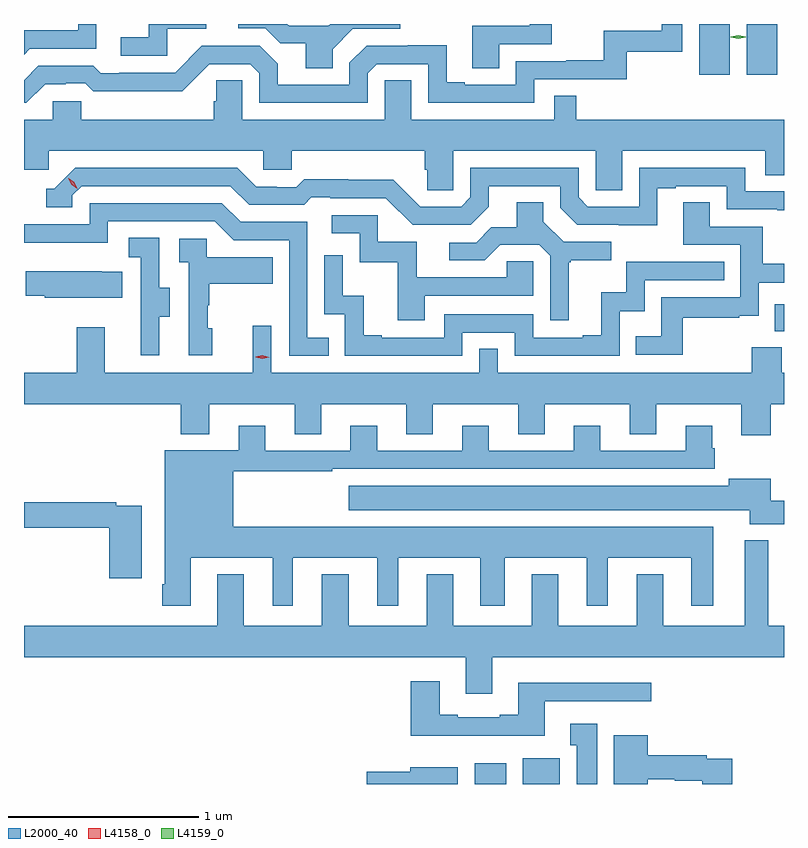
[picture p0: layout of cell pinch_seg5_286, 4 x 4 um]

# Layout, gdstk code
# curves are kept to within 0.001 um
import gdstk
lib = gdstk.Library(unit=1e-6, precision=1e-09)
def R(c, l, rs):  # rectangles x0, y0, x1, y1
    for r in rs: c.add(gdstk.rectangle(r[:2], r[2:], *l))
def P(c, l, *ps):  # polygons
    for p in ps: c.add(gdstk.Polygon(p, *l))
L2000_40 = (2000, 40)
L4158_0 = (4158, 0)
L4159_0 = (4159, 0)

pinch_seg5_286 = lib.new_cell('pinch_seg5_286')
R(pinch_seg5_286, L2000_40, [(924.053,897.384,924.22,897.493), (924.305,897.384,924.502,897.52), (925.633,899.768,925.681,899.908), (925.235,901.116,925.396,901.384), (925.484,901.116,925.645,901.384)])
P(pinch_seg5_286, L2000_40, [(921.793,901.068),(921.9,901.068),(921.9,901.071),(922.003,901.071),(922.045,901.029),(922.278,901.029),(922.278,901.031),(922.514,901.031),(922.656,901.173),(922.872,901.173),(922.92,901.125),(922.92,900.969),(923.49,900.969),(923.49,901.125),(923.538,901.173),(923.808,901.173),(923.808,900.969),(924.366,900.969),(924.366,901.092),(924.853,901.092),(924.853,901.239),(925.146,901.239),(925.146,901.384),(925.037,901.384),(925.037,901.348),(924.732,901.348),(924.732,901.193),(924.535,901.193),(924.535,901.188),(924.27,901.188),(924.27,901.065),(924.001,901.065),(924.001,901.078),(923.905,901.078),(923.905,901.271),(923.7,901.271),(923.7,901.269),(923.484,901.269),(923.394,901.179),(923.394,901.065),(923.017,901.065),(923.017,901.175),(922.923,901.269),(922.617,901.269),(922.476,901.128),(922.183,901.128),(922.183,901.125),(922.084,901.125),(922.045,901.164),(921.756,901.164),(921.681,901.089),(921.681,900.969),(921.694,900.969)],
  [(921.712,901.254),(922.062,901.254),(922.062,901.384),(921.966,901.384),(921.966,901.35),(921.681,901.35),(921.681,901.223)],
  [(924.181,901.278),(924.458,901.278),(924.458,901.384),(924.342,901.384),(924.342,901.374),(924.041,901.374),(924.041,901.15),(924.181,901.15)],
  [(922.434,901.359),(922.639,901.359),(922.639,901.384),(922.338,901.384),(922.338,901.314),(922.191,901.314),(922.191,901.218),(922.434,901.218)],
  [(923.305,901.252),(923.412,901.359),(923.662,901.359),(923.662,901.384),(923.293,901.384),(923.283,901.374),(923.077,901.374),(923.067,901.384),(922.809,901.384),(922.809,901.362),(922.95,901.362),(923.03,901.282),(923.165,901.282),(923.165,901.15),(923.305,901.15)],
  [(923.94,900.716),(924.69,900.716),(924.69,900.508),(924.829,900.508),(924.829,900.716),(925.581,900.716),(925.581,900.589),(925.681,900.589),(925.681,900.88),(924.587,900.88),(924.587,901.007),(924.471,901.007),(924.471,900.88),(923.719,900.88),(923.719,901.088),(923.58,901.088),(923.58,900.88),(922.83,900.88),(922.83,901.088),(922.693,901.088),(922.693,900.978),(922.679,900.978),(922.679,900.88),(921.981,900.88),(921.981,900.978),(921.831,900.978),(921.831,900.88),(921.681,900.88),(921.681,900.618),(921.81,900.618),(921.81,900.716),(922.941,900.716),(922.941,900.618),(923.091,900.618),(923.091,900.716),(923.789,900.716),(923.789,900.618),(923.803,900.618),(923.803,900.508),(923.94,900.508)],
  [(925.015,900.519),(925.111,900.519),(925.111,900.531),(925.38,900.531),(925.38,900.408),(925.645,900.408),(925.645,900.403),(925.681,900.403),(925.681,900.504),(925.476,900.504),(925.476,900.627),(924.918,900.627),(924.918,900.423),(924.648,900.423),(924.6,900.471),(924.6,900.627),(924.03,900.627),(924.03,900.471),(923.982,900.423),(923.766,900.423),(923.624,900.565),(923.388,900.565),(923.388,900.568),(923.155,900.568),(923.113,900.525),(923.01,900.525),(923.01,900.528),(922.903,900.528),(922.804,900.627),(921.951,900.627),(921.84,900.516),(921.797,900.516),(921.797,900.42),(921.936,900.42),(921.936,900.483),(921.984,900.531),(922.767,900.531),(922.866,900.432),(923.155,900.432),(923.194,900.471),(923.293,900.471),(923.293,900.468),(923.586,900.468),(923.727,900.327),(924.033,900.327),(924.127,900.421),(924.127,900.531),(924.504,900.531),(924.504,900.417),(924.594,900.327),(925.015,900.326)],
  [(925.147,899.838),(925.445,899.838),(925.445,899.849),(925.548,899.849),(925.548,900.021),(925.681,900.021),(925.681,900.122),(925.568,900.122),(925.568,900.318),(925.291,900.318),(925.291,900.446),(925.151,900.446),(925.151,900.222),(925.452,900.222),(925.452,899.946),(925.036,899.946),(925.036,899.74),(924.901,899.74),(924.901,899.643),(925.147,899.643)],
  [(924.547,900.129),(924.559,900.129),(924.559,900.14),(924.772,900.14),(924.772,900.237),(924.522,900.237),(924.415,900.344),(924.415,900.446),(924.275,900.446),(924.275,900.314),(924.14,900.314),(924.06,900.234),(923.919,900.234),(923.919,900.141),(924.106,900.141),(924.187,900.222),(924.393,900.222),(924.45,900.165),(924.45,899.826),(924.547,899.826)],
  [(923.285,899.733),(923.172,899.733),(923.172,900.342),(922.822,900.342),(922.723,900.441),(922.026,900.441),(922.026,900.33),(921.681,900.33),(921.681,900.233),(922.122,900.233),(922.122,900.345),(922.686,900.345),(922.785,900.246),(923.076,900.246),(923.076,899.637),(923.285,899.637)],
  [(923.791,899.955),(924.36,899.955),(924.36,900.135),(924.223,900.135),(924.223,900.051),(923.749,900.051),(923.749,900.237),(923.544,900.237),(923.544,900.378),(923.301,900.378),(923.301,900.282),(923.448,900.282),(923.448,900.129),(923.647,900.129),(923.647,899.826),(923.791,899.826)],
  [(922.393,899.842),(922.447,899.842),(922.447,899.997),(922.392,899.997),(922.392,900.26),(922.233,900.26),(922.233,900.157),(922.296,900.157),(922.296,899.853),(922.295,899.853),(922.295,899.64),(922.393,899.64)],
  [(922.672,899.784),(922.647,899.784),(922.647,899.903),(922.657,899.903),(922.657,900.017),(922.991,900.017),(922.991,900.157),(922.644,900.157),(922.644,900.255),(922.497,900.255),(922.497,900.131),(922.548,900.131),(922.548,899.64),(922.672,899.64)],
  [(923.988,899.76),(924.264,899.76),(924.264,899.637),(924.816,899.637),(924.816,899.873),(924.948,899.873),(924.948,900.036),(925.367,900.036),(925.367,900.132),(924.852,900.132),(924.852,899.971),(924.719,899.971),(924.719,899.746),(924.623,899.746),(924.623,899.733),(924.36,899.733),(924.36,899.856),(923.892,899.856),(923.892,899.733),(923.563,899.733),(923.563,899.746),(923.468,899.746),(923.468,899.954),(923.358,899.954),(923.358,900.166),(923.262,900.166),(923.262,899.856),(923.37,899.856),(923.37,899.637),(923.988,899.637)],
  [(922.199,900.079),(922.091,900.079),(922.091,900.082),(921.691,900.082),(921.691,899.953),(921.789,899.953),(921.789,899.942),(922.199,899.942)],
  [(925.61,899.384),(925.681,899.384),(925.681,899.548),(925.67,899.548),(925.67,899.683),(925.51,899.683),(925.51,899.548),(924.174,899.548),(924.174,899.675),(924.078,899.675),(924.078,899.548),(922.983,899.548),(922.983,899.797),(922.886,899.797),(922.886,899.548),(922.105,899.548),(922.105,899.788),(921.958,899.788),(921.958,899.548),(921.681,899.548),(921.681,899.384),(922.505,899.384),(922.505,899.225),(922.657,899.225),(922.657,899.384),(923.105,899.384),(923.105,899.224),(923.245,899.224),(923.245,899.384),(923.693,899.384),(923.693,899.224),(923.833,899.224),(923.833,899.384),(924.281,899.384),(924.281,899.224),(924.421,899.224),(924.421,899.384),(924.869,899.384),(924.869,899.224),(925.009,899.224),(925.009,899.384),(925.457,899.384),(925.457,899.22),(925.61,899.22)],
  [(922.558,898.574),(922.991,898.574),(922.991,898.323),(923.095,898.323),(923.095,898.574),(923.54,898.574),(923.54,898.323),(923.65,898.323),(923.65,898.574),(924.083,898.574),(924.083,898.323),(924.211,898.323),(924.211,898.574),(924.644,898.574),(924.644,898.323),(924.754,898.323),(924.754,898.574),(925.193,898.574),(925.193,898.323),(925.309,898.323),(925.309,898.738),(922.783,898.738),(922.783,899.031),(923.303,899.031),(923.303,899.043),(925.316,899.043),(925.316,899.151),(925.303,899.151),(925.303,899.269),(925.163,899.269),(925.163,899.139),(924.715,899.139),(924.715,899.269),(924.575,899.269),(924.575,899.139),(924.127,899.139),(924.127,899.269),(923.987,899.269),(923.987,899.139),(923.539,899.139),(923.539,899.269),(923.399,899.269),(923.399,899.139),(922.951,899.139),(922.951,899.269),(922.811,899.269),(922.811,899.14),(922.421,899.14),(922.421,898.435),(922.409,898.435),(922.409,898.323),(922.558,898.323)],
  [(925.681,898.874),(925.612,898.874),(925.612,898.99),(925.391,898.99),(925.391,898.954),(923.391,898.954),(923.391,898.826),(925.502,898.826),(925.502,898.751),(925.681,898.751)],
  [(922.3,898.848),(922.166,898.848),(922.166,898.868),(921.681,898.868),(921.681,898.732),(922.13,898.732),(922.13,898.467),(922.3,898.467)],
  [(924.145,898.052),(925.681,898.052),(925.681,898.216),(925.597,898.216),(925.597,898.666),(925.475,898.666),(925.475,898.216),(925.045,898.216),(925.045,898.489),(924.905,898.489),(924.905,898.216),(924.493,898.216),(924.493,898.489),(924.353,898.489),(924.353,898.216),(923.941,898.216),(923.941,898.489),(923.801,898.489),(923.801,898.216),(923.389,898.216),(923.389,898.489),(923.249,898.489),(923.249,898.216),(922.837,898.216),(922.837,898.489),(922.697,898.489),(922.697,898.216),(921.681,898.216),(921.681,898.052),(924.005,898.052),(924.005,897.858),(924.145,897.858)],
  [(924.421,897.819),(924.982,897.819),(924.982,897.916),(924.281,897.916),(924.281,897.748),(924.185,897.748),(924.185,897.735),(923.965,897.735),(923.965,897.748),(923.869,897.748),(923.869,897.925),(923.717,897.925),(923.717,897.638),(924.421,897.638)],
  [(924.697,897.7),(924.557,897.7),(924.557,897.587),(924.59,897.587),(924.59,897.384),(924.697,897.384)],
  [(924.964,897.408),(925.107,897.408),(925.107,897.4),(925.25,897.4),(925.25,897.384),(925.408,897.384),(925.408,897.516),(925.274,897.516),(925.274,897.536),(924.964,897.536),(924.964,897.64),(924.785,897.64),(924.785,897.384),(924.964,897.384)],
  [(923.965,897.472),(923.714,897.472),(923.714,897.449),(923.484,897.449),(923.484,897.384),(923.965,897.384)])
P(pinch_seg5_286, L4158_0, [(921.961,900.518),(921.931,900.538),(921.915,900.571),(921.915,900.571),(921.916,900.571),(921.946,900.551),(921.961,900.518),(921.961,900.518)],
  [(922.936,899.621),(922.9,899.631),(922.9,899.632),(922.9,899.632),(922.936,899.641),(922.972,899.631),(922.972,899.631),(922.972,899.631)])
P(pinch_seg5_286, L4159_0, [(925.44,901.306),(925.4,901.315),(925.4,901.315),(925.4,901.316),(925.44,901.325),(925.48,901.316),(925.48,901.315),(925.48,901.315)])

lib.write_gds('pinch_seg5_286.gds')
